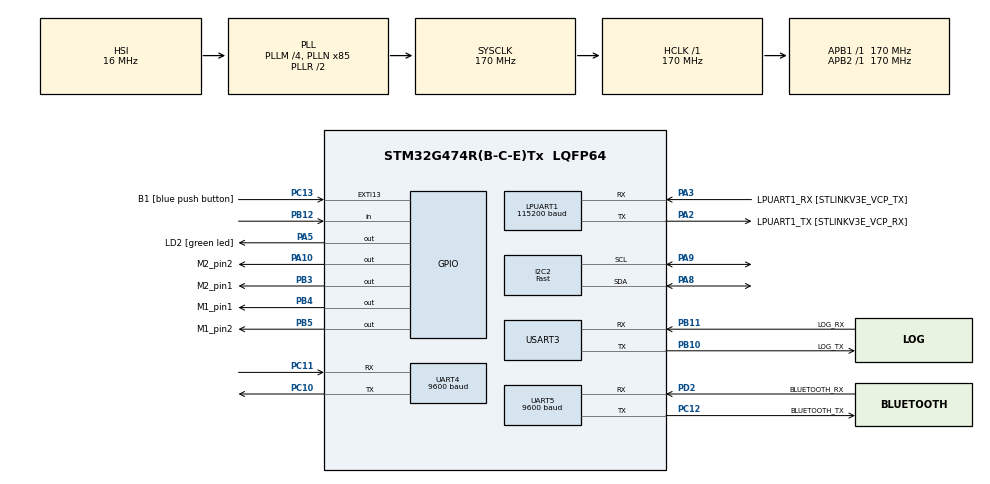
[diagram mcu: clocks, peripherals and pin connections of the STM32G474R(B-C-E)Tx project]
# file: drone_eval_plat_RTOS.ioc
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Dma.LPUART1_RX.0.Direction=DMA_PERIPH_TO_MEMORY
Dma.LPUART1_RX.0.EventEnable=DISABLE
Dma.LPUART1_RX.0.Instance=DMA1_Channel1
Dma.LPUART1_RX.0.MemDataAlignment=DMA_MDATAALIGN_BYTE
Dma.LPUART1_RX.0.MemInc=DMA_MINC_ENABLE
Dma.LPUART1_RX.0.Mode=DMA_CIRCULAR
Dma.LPUART1_RX.0.PeriphDataAlignment=DMA_PDATAALIGN_BYTE
Dma.LPUART1_RX.0.PeriphInc=DMA_PINC_DISABLE
Dma.LPUART1_RX.0.Polarity=HAL_DMAMUX_REQ_GEN_RISING
Dma.LPUART1_RX.0.Priority=DMA_PRIORITY_LOW
Dma.LPUART1_RX.0.RequestNumber=1
Dma.LPUART1_RX.0.SignalID=NONE
Dma.LPUART1_RX.0.SyncEnable=DISABLE
Dma.LPUART1_RX.0.SyncPolarity=HAL_DMAMUX_SYNC_NO_EVENT
Dma.LPUART1_RX.0.SyncRequestNumber=1
Dma.LPUART1_RX.0.SyncSignalID=NONE
Dma.LPUART1_TX.1.Direction=DMA_MEMORY_TO_PERIPH
Dma.LPUART1_TX.1.EventEnable=DISABLE
Dma.LPUART1_TX.1.Instance=DMA1_Channel2
Dma.LPUART1_TX.1.MemDataAlignment=DMA_MDATAALIGN_BYTE
Dma.LPUART1_TX.1.MemInc=DMA_MINC_ENABLE
Dma.LPUART1_TX.1.Mode=DMA_NORMAL
Dma.LPUART1_TX.1.PeriphDataAlignment=DMA_PDATAALIGN_BYTE
Dma.LPUART1_TX.1.PeriphInc=DMA_PINC_DISABLE
Dma.LPUART1_TX.1.Polarity=HAL_DMAMUX_REQ_GEN_RISING
Dma.LPUART1_TX.1.Priority=DMA_PRIORITY_LOW
Dma.LPUART1_TX.1.RequestNumber=1
Dma.LPUART1_TX.1.SignalID=NONE
Dma.LPUART1_TX.1.SyncEnable=DISABLE
Dma.LPUART1_TX.1.SyncPolarity=HAL_DMAMUX_SYNC_NO_EVENT
Dma.LPUART1_TX.1.SyncRequestNumber=1
Dma.LPUART1_TX.1.SyncSignalID=NONE
Dma.Request0=LPUART1_RX
Dma.Request1=LPUART1_TX
FREERTOS.BinarySemaphores01=IMUshouldUpdate,Dynamic,NULL,Available
FREERTOS.Events01=hostImuEvent,Dynamic,NULL
FREERTOS.Queues01=printfQueue,128,xPrintfMessage,0,Dynamic,NULL,NULL;yawMotorNewAngle,16,float,0,Dynamic,NULL,NULL;rollMotorNewAngle,16,float,0,Dynamic,NULL,NULL;IMUdata,4,xIMUData,0,Dynamic,NULL,NULL
FREERTOS.Tasks01=defaultTask,24,3000,defaultTaskFunc,Default,NULL,Static,defaultTaskBuffer,defaultTaskControlBlock;BT_uart,8,128,BT_uart_func,Default,NULL,Dynamic,NULL,NULL;printGateKeeper,8,128,printGateKeeperFunc,Default,NULL,Dynamic,NULL,NULL;writeSetpoint,40,128,writeSetpointFunc,Default,NULL,Dynamic,NULL,NULL;readFromHost,30,500,readFromHostFunc,Default,NULL,Dynamic,NULL,NULL;readFromIMU,49,128,readFromIMUFunc,Default,NULL,Dynamic,NULL,NULL;updateControl,32,128,updateControlFunc,Default,NULL,Dynamic,NULL,NULL;convertSetpoint,21,128,convertSetpointToStepsFunc,Default,NULL,Dynamic,NULL,NULL;sendToHost,29,128,sendToHostFunc,Default,NULL,Dynamic,NULL,NULL;moveYawMotor,18,128,moveYawMotorFunc,Default,NULL,Dynamic,NULL,NULL;moveRollMotor,17,128,moveRollMotorFunc,Default,NULL,Dynamic,NULL,NULL
FREERTOS.configENABLE_FPU=1
FREERTOS.configTOTAL_HEAP_SIZE=40960
FREERTOS.configUSE_NEWLIB_REENTRANT=1
I2C2.CustomTiming=Disabled
I2C2.I2C_Fall_Time=10
I2C2.I2C_Rise_Time=10
I2C2.I2C_Speed_Mode=I2C_Fast
I2C2.Timing=0x10903294
LPUART1.BaudRate=115200
Mcu.Family=STM32G4
Mcu.Name=STM32G474R(B-C-E)Tx
Mcu.Package=LQFP64
NVIC.DMA1_Channel1_IRQn=true\:5\:0\:false\:false\:true\:true\:false\:true\:true
NVIC.DMA1_Channel2_IRQn=true\:5\:0\:false\:false\:true\:true\:false\:true\:true
NVIC.EXTI15_10_IRQn=true\:5\:0\:false\:false\:true\:true\:true\:true\:true
NVIC.LPUART1_IRQn=true\:5\:0\:false\:false\:true\:true\:true\:true\:true
NVIC.PriorityGroup=NVIC_PRIORITYGROUP_4
NVIC.TIM6_DAC_IRQn=true\:15\:0\:false\:false\:true\:false\:false\:true\:true
NVIC.TimeBase=TIM6_DAC_IRQn
NVIC.TimeBaseIP=TIM6
NVIC.UART5_IRQn=true\:5\:0\:false\:false\:true\:true\:true\:true\:true
PA10.GPIO_Label=M2_pin2
PA10.Signal=GPIO_Output
PA13.GPIO_Label=T_SWDIO
PA13.Signal=SYS_JTMS-SWDIO
PA14.GPIO_Label=T_SWCLK
PA14.Signal=SYS_JTCK-SWCLK
PA2.GPIO_Label=LPUART1_TX [STLINKV3E_VCP_RX]
PA2.Mode=Asynchronous
PA2.Signal=LPUART1_TX
PA3.GPIO_Label=LPUART1_RX [STLINKV3E_VCP_TX]
PA3.Mode=Asynchronous
PA3.Signal=LPUART1_RX
PA5.GPIO_Label=LD2 [green led]
PA5.Signal=GPIO_Output
PA8.Mode=I2C
PA8.Signal=I2C2_SDA
PA9.Mode=I2C
PA9.Signal=I2C2_SCL
PB10.GPIO_Label=LOG_TX
PB10.Mode=Asynchronous
PB10.Signal=USART3_TX
PB11.GPIO_Label=LOG_RX
PB11.Mode=Asynchronous
PB11.Signal=USART3_RX
PB12.Signal=GPIO_Input
PB3.GPIO_Label=M2_pin1
PB3.Signal=GPIO_Output
PB4.GPIO_Label=M1_pin1
PB4.Signal=GPIO_Output
PB5.GPIO_Label=M1_pin2
PB5.Signal=GPIO_Output
PC10.Mode=Asynchronous
PC10.Signal=UART4_TX
PC11.Mode=Asynchronous
PC11.Signal=UART4_RX
PC12.GPIO_Label=BLUETOOTH_TX
PC12.Mode=Asynchronous
PC12.Signal=UART5_TX
PC13.GPIO_Label=B1 [blue push button]
PC13.Signal=GPXTI13
PC14-OSC32_IN.GPIO_Label=RCC_OSC32_IN
PC14-OSC32_IN.Signal=RCC_OSC32_IN
PC15-OSC32_OUT.GPIO_Label=RCC_OSC32_OUT
PC15-OSC32_OUT.Signal=RCC_OSC32_OUT
PD2.GPIO_Label=BLUETOOTH_RX
PD2.Mode=Asynchronous
PD2.Signal=UART5_RX
PF0-OSC_IN.GPIO_Label=RCC_OSC_IN
PF0-OSC_IN.Signal=RCC_OSC_IN
PF1-OSC_OUT.GPIO_Label=RCC_OSC_OUT
PF1-OSC_OUT.Signal=RCC_OSC_OUT
ProjectManager.HeapSize=0x200
ProjectManager.StackSize=0x400
ProjectManager.TargetToolchain=STM32CubeIDE
RCC.ADC12Freq_Value=170000000
RCC.ADC345Freq_Value=170000000
RCC.AHBFreq_Value=170000000
RCC.APB1Freq_Value=170000000
RCC.APB1TimFreq_Value=170000000
RCC.APB2Freq_Value=170000000
RCC.APB2TimFreq_Value=170000000
RCC.CortexFreq_Value=170000000
RCC.EXTERNAL_CLOCK_VALUE=12288000
RCC.HCLKFreq_Value=170000000
RCC.HSE_VALUE=24000000
RCC.HSI48_VALUE=48000000
RCC.HSI_VALUE=16000000
RCC.LSE_VALUE=32768
RCC.PLLM=RCC_PLLM_DIV4
RCC.PLLN=85
RCC.RTCClockSelection=RCC_RTCCLKSOURCE_LSE
RCC.SYSCLKFreq_VALUE=170000000
RCC.SYSCLKSource=RCC_SYSCLKSOURCE_PLLCLK
RCC.USBFreq_Value=170000000
RCC.VCOOutputFreq_Value=340000000
TIM1.Prescaler=0
UART4.BaudRate=9600
UART5.BaudRate=9600
USART3.VirtualMode-Asynchronous=VM_ASYNC
VP_FREERTOS_VS_CMSIS_V2.Mode=CMSIS_V2
VP_SYS_VS_DBSignals.Mode=DisableDeadBatterySignals
VP_SYS_VS_tim6.Mode=TIM6
VP_TIM1_VS_ClockSourceINT.Mode=Internal
board=NUCLEO-G474RE

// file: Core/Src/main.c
/* USER CODE BEGIN Header */
/**
  ******************************************************************************
  * @file           : main.c
  * @brief          : Main program body
  ******************************************************************************
  * @attention
  *
  * Copyright (c) 2024 STMicroelectronics.
  * All rights reserved.
  *
  * This software is licensed under terms that can be found in the LICENSE file
  * in the root directory of this software component.
  * If no LICENSE file comes with this software, it is provided AS-IS.
  *
  ******************************************************************************
  */
/* USER CODE END Header */
#include "main.h"
#include "cmsis_os.h"
#include "dma.h"
#include "i2c.h"
#include "usart.h"
#include "tim.h"
#include "gpio.h"

void SystemClock_Config(void);
void MX_FREERTOS_Init(void);

/* USER CODE BEGIN 0 */
//int _write(int file, char *ptr, int len)
//{
////  if(HAL_UART_Transmit(&huart3,(uint8_t *)ptr, len,100) != HAL_OK)
//  if(HAL_UART_Transmit(&hlpuart1,(uint8_t *)ptr, len,100) != HAL_OK)
//  {
//    Error_Handler();
//  }
//
//  return len;
//}
/* USER CODE END 0 */

int main(void)
{

  /* MCU Configuration--------------------------------------------------------*/

  /* Reset of all peripherals, Initializes the Flash interface and the Systick. */
  HAL_Init();

  /* Configure the system clock */
  SystemClock_Config();

  /* Initialize all configured peripherals */
  MX_GPIO_Init();
  MX_DMA_Init();
  MX_LPUART1_UART_Init();
  MX_I2C2_Init();
  MX_USART3_UART_Init();
  MX_TIM1_Init();
  MX_UART5_Init();
  MX_UART4_Init();

  /* Init scheduler */
  osKernelInitialize();

  /* Call init function for freertos objects (in cmsis_os2.c) */
  MX_FREERTOS_Init();

  /* Start scheduler */
  osKernelStart();

  /* We should never get here as control is now taken by the scheduler */

  /* Infinite loop */
  while (1)
  {

  }
}

void SystemClock_Config(void)
{
  RCC_OscInitTypeDef RCC_OscInitStruct = {0};
  RCC_ClkInitTypeDef RCC_ClkInitStruct = {0};

  /** Configure the main internal regulator output voltage
  */
  HAL_PWREx_ControlVoltageScaling(PWR_REGULATOR_VOLTAGE_SCALE1_BOOST);

  /** Initializes the RCC Oscillators according to the specified parameters
  * in the RCC_OscInitTypeDef structure.
  */
  RCC_OscInitStruct.OscillatorType = RCC_OSCILLATORTYPE_HSI;
  RCC_OscInitStruct.HSIState = RCC_HSI_ON;
  RCC_OscInitStruct.HSICalibrationValue = RCC_HSICALIBRATION_DEFAULT;
  RCC_OscInitStruct.PLL.PLLState = RCC_PLL_ON;
  RCC_OscInitStruct.PLL.PLLSource = RCC_PLLSOURCE_HSI;
  RCC_OscInitStruct.PLL.PLLM = RCC_PLLM_DIV4;
  RCC_OscInitStruct.PLL.PLLN = 85;
  RCC_OscInitStruct.PLL.PLLP = RCC_PLLP_DIV2;
  RCC_OscInitStruct.PLL.PLLQ = RCC_PLLQ_DIV2;
  RCC_OscInitStruct.PLL.PLLR = RCC_PLLR_DIV2;
  if (HAL_RCC_OscConfig(&RCC_OscInitStruct) != HAL_OK)
  {
    Error_Handler();
  }

  /** Initializes the CPU, AHB and APB buses clocks
  */
  RCC_ClkInitStruct.ClockType = RCC_CLOCKTYPE_HCLK|RCC_CLOCKTYPE_SYSCLK
                              |RCC_CLOCKTYPE_PCLK1|RCC_CLOCKTYPE_PCLK2;
  RCC_ClkInitStruct.SYSCLKSource = RCC_SYSCLKSOURCE_PLLCLK;
  RCC_ClkInitStruct.AHBCLKDivider = RCC_SYSCLK_DIV1;
  RCC_ClkInitStruct.APB1CLKDivider = RCC_HCLK_DIV1;
  RCC_ClkInitStruct.APB2CLKDivider = RCC_HCLK_DIV1;

  if (HAL_RCC_ClockConfig(&RCC_ClkInitStruct, FLASH_LATENCY_4) != HAL_OK)
  {
    Error_Handler();
  }
}

void HAL_TIM_PeriodElapsedCallback(TIM_HandleTypeDef *htim)
{
  if (htim->Instance == TIM6) {
    HAL_IncTick();
  }
}

void Error_Handler(void)
{
  __disable_irq();
  while (1)
  {
  }
}

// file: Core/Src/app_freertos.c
/* USER CODE BEGIN Header */
/**
  ******************************************************************************
  * File Name          : app_freertos.c
  * Description        : Code for freertos applications
  ******************************************************************************
  * @attention
  *
  * Copyright (c) 2024 STMicroelectronics.
  * All rights reserved.
  *
  * This software is licensed under terms that can be found in the LICENSE file
  * in the root directory of this software component.
  * If no LICENSE file comes with this software, it is provided AS-IS.
  *
  ******************************************************************************
  */
/* USER CODE END Header */

#include "FreeRTOS.h"
#include "task.h"
#include "main.h"
#include "cmsis_os.h"

/* USER CODE BEGIN Includes */
#include "stdio.h"
#include "string.h"

#include "gpio.h"
#include "usart.h"
#include "tim.h"

#include "MPU6050.h"
#include "CalculateAngle.h"

#include "my_microROS_functions.h"
/* USER CODE END Includes */

typedef StaticTask_t osStaticThreadDef_t;
/* USER CODE BEGIN PTD */
#define MAX_MESSAGE_LEN 32
typedef struct {
  int iMessageLen;
  char pMessageBuffer[MAX_MESSAGE_LEN];
} xPrintfMessage;

typedef struct {
  float fYaw;
  float fRoll;
  float fPitch;
  int iDataFromJoystick;
} xSetpoint;

typedef struct {
  float fYaw;
  float fRoll;
  float fPitch;
} xIMUData;

typedef xIMUData xJoystickData;
/* USER CODE END PTD */

/* USER CODE BEGIN PD */
#define DEFAULT_OSDELAY_LOOP 4
#define UART_BUFFER_SIZE 256
#define STEP_MOTOR_MICRODELAY 500
/* USER CODE END PD */

/* USER CODE BEGIN PM */
#define MAX(x, y) (((x) > (y)) ? (x) : (y))
#define MIN(x, y) (((x) < (y)) ? (x) : (y))
#define ABS(x) (((x) < 0) ? -(x) : (x))

// matrix multiplication, we pass ret=A*x, wheere x is 3x1 and returns a 4x1 matrix: A is 4x3
#define MATRIX_MULTIPLICATION(ret, A, x) \
  ret[0] = A[0][0]*x[0] + A[0][1]*x[1] + A[0][2]*x[2]; \
  ret[1] = A[1][0]*x[0] + A[1][1]*x[1] + A[1][2]*x[2]; \
  ret[2] = A[2][0]*x[0] + A[2][1]*x[1] + A[2][2]*x[2]; \
  ret[3] = A[3][0]*x[0] + A[3][1]*x[1] + A[3][2]*x[2];
/* USER CODE END PM */

/* USER CODE BEGIN Variables */
xSetpoint xSetpointData = {0, 0, 0, 0};
xSetpoint xHostData = {0, 0, 0, 0};
xJoystickData xJoystickDataIncoming = {0, 0, 0};
float fMotorSpeeds[4] = {500, 500, 500, 500};

unsigned char ucUartInputChar = '\0';
unsigned short int usBufferIndex = 0;
unsigned char ucUartInputBuffer[UART_BUFFER_SIZE];
unsigned short int usLastPrintedIndex = 0;
/* USER CODE END Variables */
/* Definitions for defaultTask */
osThreadId_t defaultTaskHandle;
uint32_t defaultTaskBuffer[ 3000 ];
osStaticThreadDef_t defaultTaskControlBlock;
const osThreadAttr_t defaultTask_attributes = {
  .name = "defaultTask",
  .stack_mem = &defaultTaskBuffer[0],
  .stack_size = sizeof(defaultTaskBuffer),
  .cb_mem = &defaultTaskControlBlock,
  .cb_size = sizeof(defaultTaskControlBlock),
  .priority = (osPriority_t) osPriorityNormal,
};
/* Definitions for BT_uart */
osThreadId_t BT_uartHandle;
const osThreadAttr_t BT_uart_attributes = {
  .name = "BT_uart",
  .priority = (osPriority_t) osPriorityLow,
  .stack_size = 128 * 4
};
/* Definitions for printGateKeeper */
osThreadId_t printGateKeeperHandle;
const osThreadAttr_t printGateKeeper_attributes = {
  .name = "printGateKeeper",
  .priority = (osPriority_t) osPriorityLow,
  .stack_size = 128 * 4
};
/* Definitions for writeSetpoint */
osThreadId_t writeSetpointHandle;
const osThreadAttr_t writeSetpoint_attributes = {
  .name = "writeSetpoint",
  .priority = (osPriority_t) osPriorityHigh,
  .stack_size = 128 * 4
};
/* Definitions for readFromHost */
osThreadId_t readFromHostHandle;
const osThreadAttr_t readFromHost_attributes = {
  .name = "readFromHost",
  .priority = (osPriority_t) osPriorityNormal6,
  .stack_size = 500 * 4
};
/* Definitions for readFromIMU */
osThreadId_t readFromIMUHandle;
const osThreadAttr_t readFromIMU_attributes = {
  .name = "readFromIMU",
  .priority = (osPriority_t) osPriorityRealtime1,
  .stack_size = 128 * 4
};
/* Definitions for updateControl */
osThreadId_t updateControlHandle;
const osThreadAttr_t updateControl_attributes = {
  .name = "updateControl",
  .priority = (osPriority_t) osPriorityAboveNormal,
  .stack_size = 128 * 4
};
/* Definitions for convertSetpoint */
osThreadId_t convertSetpointHandle;
const osThreadAttr_t convertSetpoint_attributes = {
  .name = "convertSetpoint",
  .priority = (osPriority_t) osPriorityBelowNormal5,
  .stack_size = 128 * 4
};
/* Definitions for sendToHost */
osThreadId_t sendToHostHandle;
const osThreadAttr_t sendToHost_attributes = {
  .name = "sendToHost",
  .priority = (osPriority_t) osPriorityNormal5,
  .stack_size = 128 * 4
};
/* Definitions for moveYawMotor */
osThreadId_t moveYawMotorHandle;
const osThreadAttr_t moveYawMotor_attributes = {
  .name = "moveYawMotor",
  .priority = (osPriority_t) osPriorityBelowNormal2,
  .stack_size = 128 * 4
};
/* Definitions for moveRollMotor */
osThreadId_t moveRollMotorHandle;
const osThreadAttr_t moveRollMotor_attributes = {
  .name = "moveRollMotor",
  .priority = (osPriority_t) osPriorityBelowNormal1,
  .stack_size = 128 * 4
};
/* Definitions for printfQueue */
osMessageQueueId_t printfQueueHandle;
const osMessageQueueAttr_t printfQueue_attributes = {
  .name = "printfQueue"
};
/* Definitions for yawMotorNewAngle */
osMessageQueueId_t yawMotorNewAngleHandle;
const osMessageQueueAttr_t yawMotorNewAngle_attributes = {
  .name = "yawMotorNewAngle"
};
/* Definitions for rollMotorNewAngle */
osMessageQueueId_t rollMotorNewAngleHandle;
const osMessageQueueAttr_t rollMotorNewAngle_attributes = {
  .name = "rollMotorNewAngle"
};
/* Definitions for IMUdata */
osMessageQueueId_t IMUdataHandle;
const osMessageQueueAttr_t IMUdata_attributes = {
  .name = "IMUdata"
};
/* Definitions for IMUshouldUpdate */
osSemaphoreId_t IMUshouldUpdateHandle;
const osSemaphoreAttr_t IMUshouldUpdate_attributes = {
  .name = "IMUshouldUpdate"
};
/* Definitions for hostImuEvent */
osEventFlagsId_t hostImuEventHandle;
const osEventFlagsAttr_t hostImuEvent_attributes = {
  .name = "hostImuEvent"
};

/* USER CODE BEGIN FunctionPrototypes */
void HAL_UART_RxCpltCallback(UART_HandleTypeDef *huart);
void microDelay(uint16_t delay);
void step(int steps, uint8_t direction, uint16_t delay, GPIO_TypeDef *GPIOx, uint16_t GPIO_Pin);
/* USER CODE END FunctionPrototypes */

void defaultTaskFunc(void *argument);
void BT_uart_func(void *argument);
void printGateKeeperFunc(void *argument);
void writeSetpointFunc(void *argument);
void readFromHostFunc(void *argument);
void readFromIMUFunc(void *argument);
void updateControlFunc(void *argument);
void convertSetpointToStepsFunc(void *argument);
void sendToHostFunc(void *argument);
void moveYawMotorFunc(void *argument);
void moveRollMotorFunc(void *argument);

void MX_FREERTOS_Init(void); /* (MISRA C 2004 rule 8.1) */

void MX_FREERTOS_Init(void) {

  /* Create the semaphores(s) */
  /* creation of IMUshouldUpdate */
  IMUshouldUpdateHandle = osSemaphoreNew(1, 1, &IMUshouldUpdate_attributes);

  /* USER CODE BEGIN RTOS_TIMERS */
  HAL_TIM_Base_Start(&htim1);
  /* USER CODE END RTOS_TIMERS */

  /* Create the queue(s) */
  /* creation of printfQueue */
  printfQueueHandle = osMessageQueueNew (128, sizeof(xPrintfMessage), &printfQueue_attributes);

  /* creation of yawMotorNewAngle */
  yawMotorNewAngleHandle = osMessageQueueNew (16, sizeof(float), &yawMotorNewAngle_attributes);

  /* creation of rollMotorNewAngle */
  rollMotorNewAngleHandle = osMessageQueueNew (16, sizeof(float), &rollMotorNewAngle_attributes);

  /* creation of IMUdata */
  IMUdataHandle = osMessageQueueNew (4, sizeof(xIMUData), &IMUdata_attributes);

  /* Create the thread(s) */
  /* creation of defaultTask */
  defaultTaskHandle = osThreadNew(defaultTaskFunc, NULL, &defaultTask_attributes);

  /* creation of BT_uart */
  BT_uartHandle = osThreadNew(BT_uart_func, NULL, &BT_uart_attributes);

  /* creation of printGateKeeper */
  printGateKeeperHandle = osThreadNew(printGateKeeperFunc, NULL, &printGateKeeper_attributes);

  /* creation of writeSetpoint */
  writeSetpointHandle = osThreadNew(writeSetpointFunc, NULL, &writeSetpoint_attributes);

  /* creation of readFromHost */
  readFromHostHandle = osThreadNew(readFromHostFunc, NULL, &readFromHost_attributes);

  /* creation of readFromIMU */
  readFromIMUHandle = osThreadNew(readFromIMUFunc, NULL, &readFromIMU_attributes);

  /* creation of updateControl */
  updateControlHandle = osThreadNew(updateControlFunc, NULL, &updateControl_attributes);

  /* creation of convertSetpoint */
  convertSetpointHandle = osThreadNew(convertSetpointToStepsFunc, NULL, &convertSetpoint_attributes);

  /* creation of sendToHost */
  sendToHostHandle = osThreadNew(sendToHostFunc, NULL, &sendToHost_attributes);

  /* creation of moveYawMotor */
  moveYawMotorHandle = osThreadNew(moveYawMotorFunc, NULL, &moveYawMotor_attributes);

  /* creation of moveRollMotor */
  moveRollMotorHandle = osThreadNew(moveRollMotorFunc, NULL, &moveRollMotor_attributes);

  /* Create the event(s) */
  /* creation of hostImuEvent */
  hostImuEventHandle = osEventFlagsNew(&hostImuEvent_attributes);

}

void defaultTaskFunc(void *argument)
{
  /* USER CODE BEGIN defaultTaskFunc */

  for(int i = 0; i < 60; i++){
    printf("\r\n");
  }

  printf("@@@@@@@@@@@@@@@@@@@@@@@@@\r\n");
  printf("Booting...\r\n");
  printf("@@@@@@@@@@@@@@@@@@@@@@@@@\r\n");
  // HAL_UART_Transmit(&huart4, "1", 1, 100);

  /* Infinite loop */
  for(;;)
  {
	//uint32_t valor_flag = osThreadFlagsSet(readFromHostHandle, 0x01);
	//osEventFlagsSet(hostImuEventHandle,0x01);
    vMyMicroros();
    osDelay(1000);
  }
  /* USER CODE END defaultTaskFunc */
}

void BT_uart_func(void *argument)
{
  /* USER CODE BEGIN BT_uart_func */

  /* Infinite loop */
  printf("bluetooth IS on\r\n");
  for(;;)
  {
    HAL_UART_Receive_IT(&huart5, &ucUartInputChar, 1);

    // If buffer size differs from printed amount, print until they match
    while ( usLastPrintedIndex != usBufferIndex ){

      printf("bluetooth int: ");
      if ( ucUartInputBuffer[usLastPrintedIndex] == '0'){
        printf("KEY_RELEASED\r\n");
        // HAL_UART_Transmit(&huart4, "1", 1, 100);
      }else{
        printf((char *) &( ucUartInputBuffer[usLastPrintedIndex] ));
        printf("\r\n");
        if ( ucUartInputBuffer[usLastPrintedIndex] == 'v'){
          xJoystickDataIncoming.fYaw += 15;
          osThreadFlagsSet(writeSetpointHandle, 0x1);
        }
        else if ( ucUartInputBuffer[usLastPrintedIndex] == 'b'){
          xJoystickDataIncoming.fYaw += -15;
          osThreadFlagsSet(writeSetpointHandle, 0x1);
        }
        else if ( ucUartInputBuffer[usLastPrintedIndex] == 'w'){
          xJoystickDataIncoming.fPitch += 15;
          osThreadFlagsSet(writeSetpointHandle, 0x1);
        }
        else if ( ucUartInputBuffer[usLastPrintedIndex] == 's'){
          xJoystickDataIncoming.fPitch += -15;
          osThreadFlagsSet(writeSetpointHandle, 0x1);
        }
        else if ( ucUartInputBuffer[usLastPrintedIndex] == 'a'){
          xJoystickDataIncoming.fRoll += 15;
          osThreadFlagsSet(writeSetpointHandle, 0x1);
        }
        else if ( ucUartInputBuffer[usLastPrintedIndex] == 'd'){
          xJoystickDataIncoming.fRoll += -15;
          osThreadFlagsSet(writeSetpointHandle, 0x1);
        }
      }
      usLastPrintedIndex++;

      if (usLastPrintedIndex >  UART_BUFFER_SIZE - 1)
        usLastPrintedIndex = 0;
    }
    osDelay(DEFAULT_OSDELAY_LOOP);
  }
  /* USER CODE END BT_uart_func */
}

void printGateKeeperFunc(void *argument)
{
  /* USER CODE BEGIN printGateKeeperFunc */
  xPrintfMessage xIncommingMessage;
  /* Infinite loop */
  for(;;)
  {

    if (osMessageQueueGet(printfQueueHandle, &xIncommingMessage, 0x0, 10) == osOK){
    	if(HAL_UART_Transmit(&huart3,(uint8_t *)xIncommingMessage.pMessageBuffer, xIncommingMessage.iMessageLen, 100) != HAL_OK){
      //if(HAL_UART_Transmit(&hlpuart1,(uint8_t *)xIncommingMessage.pMessageBuffer, xIncommingMessage.iMessageLen, 100) != HAL_OK){
        Error_Handler();
      }
    }
    osDelay(DEFAULT_OSDELAY_LOOP);
  }
  /* USER CODE END printGateKeeperFunc */
}

void writeSetpointFunc(void *argument)
{
  /* USER CODE BEGIN writeSetpointFunc */
  uint32_t uiThreadFlagsReturn = 0;

  /* Infinite loop */
  for(;;)
  {
    // wait for writeSetpointFunc task flag to be different from 0
    uiThreadFlagsReturn = osThreadFlagsWait(0b11, osFlagsWaitAny, 1000);
    // if return is 0x1, read data from joystick
    // if return is 0x10, read data from host
    // else we loop and wait for the flag to be set
    if (uiThreadFlagsReturn == 0x1){
      // read data from joystick
      xSetpointData.iDataFromJoystick = 1;
      xSetpointData.fYaw = xJoystickDataIncoming.fYaw;
      xSetpointData.fRoll = xJoystickDataIncoming.fRoll;
      xSetpointData.fPitch = xJoystickDataIncoming.fPitch;
      printf("setpoint upd joy\r\n");
      osThreadFlagsSet(convertSetpointHandle, 0x1);

    }
    else if (uiThreadFlagsReturn == 0b10){
      // read data from host

      xSetpointData.iDataFromJoystick = 0;
      xSetpointData.fYaw = xHostData.fYaw;
      xSetpointData.fRoll = xHostData.fRoll;
      xSetpointData.fPitch = xHostData.fPitch;
      printf("setpoint upd ros\r\n");
      //osThreadFlagsSet(convertSetpointHandle, 0x1);
    }

    osDelay(4);
  }
  /* USER CODE END writeSetpointFunc */
}

void readFromHostFunc(void *argument)
{
  /* USER CODE BEGIN readFromHostFunc */
    // IVAN CODE HERE <--------------------------------------------------------------------------------------------------------
	xSetpoint angles = {0,0,0,0};
	int i=0;
  /* Infinite loop */
  for(;;)
  {
    // IVAN CODE HERE <--------------------------------------------------------------------------------------------------------
	osEventFlagsWait(hostImuEventHandle, 0x01, osFlagsWaitAll, osWaitForever);
	xHostData.fYaw = angles.fYaw;
	xHostData.fRoll = angles.fRoll;
	xHostData.fPitch = angles.fPitch;
	xHostData.iDataFromJoystick = 0x10;
	HAL_GPIO_TogglePin(LD2_GPIO_Port , LD2_Pin);
	float a_velocity[] = {0+i,10+i,100+i,500+i};
	vSetActuatorMsg(a_velocity);
	//vSendActuatorMsg();
	//osThreadFlagsSet(writeSetpointHandle,0b10);
	osDelay(DEFAULT_OSDELAY_LOOP);
	i++;
	i%=100;
  }
  /* USER CODE END readFromHostFunc */
}

void readFromIMUFunc(void *argument)
{
  /* USER CODE BEGIN readFromIMUFunc */

  MPU6050_Initialization();
  /* Infinite loop */
  for(;;)
  {
    // IMUshouldUpdate semaphore is set to 1 when the IMU has new data
    if (osSemaphoreAcquire(IMUshouldUpdateHandle, 0) == osOK){
      MPU6050_ProcessData(&MPU6050);
      CalculateCompliFilter(&Angle, &MPU6050);
      // printf("%f, %f, %f\r\n", Angle.ComFilt_roll,Angle.ComFilt_pitch,Angle.ComFilt_yaw);
    }
    osDelay(DEFAULT_OSDELAY_LOOP);
  }
  /* USER CODE END readFromIMUFunc */
}

void updateControlFunc(void *argument)
{
  /* USER CODE BEGIN updateControlFunc */
  xIMUData xIMUDataIncoming = {0, 0, 0};
  float xError[] = {0, 0, 0};
  xIMUData xIMUDataPrevious = {0, 0, 0};
  xIMUData xIMUDataErrorAccumulated = {0, 0, 0};
  float fMotorSpeedsDiff[4] = {0, 0, 0, 0};

  // we need a matrix to map the error to the motor speeds
  float fStateToMotorSpeedMatrix[4][3] = {
    {1, 1, 1},
    {1, -1, -1},
    {-1, -1, 1},
    {-1, 1, -1}
  };

  /* Infinite loop */
  for(;;)
  {

    if (osMessageQueueGet(IMUdataHandle, &xIMUDataIncoming, 0x0, 100) == osOK){
      xError[0] = xSetpointData.fYaw - xIMUDataIncoming.fYaw;
      xError[1] = xSetpointData.fRoll - xIMUDataIncoming.fRoll;
      xError[2] = xSetpointData.fPitch - xIMUDataIncoming.fPitch;

      xIMUDataErrorAccumulated.fYaw += xError[0];
      xIMUDataErrorAccumulated.fRoll += xError[1];
      xIMUDataErrorAccumulated.fPitch += xError[2];

      MATRIX_MULTIPLICATION(fMotorSpeedsDiff, fStateToMotorSpeedMatrix, xError);
      fMotorSpeeds[0] = fMotorSpeeds[0] + fMotorSpeedsDiff[0];
      fMotorSpeeds[1] = fMotorSpeeds[1] + fMotorSpeedsDiff[1];
      fMotorSpeeds[2] = fMotorSpeeds[2] + fMotorSpeedsDiff[2];
      fMotorSpeeds[3] = fMotorSpeeds[3] + fMotorSpeedsDiff[3];

      // we need to update the real motor angles that will move the IMU
      osMessageQueuePut(yawMotorNewAngleHandle, & xIMUDataIncoming.fYaw, 0, 1);
      osMessageQueuePut(rollMotorNewAngleHandle, & xIMUDataIncoming.fRoll, 0, 1);

      // we need to update the motor speeds to micro
      osThreadFlagsSet(sendToHostHandle, 0x1);

      xIMUDataPrevious = xIMUDataIncoming;
      (void) xIMUDataPrevious; // just use to avoid warning, but would be necessary at PID
    }

    //    if(0x01 == osThreadFlagsWait(0x01, osFlagsWaitAny, 1000)){
//    	static int i = 0;
//    	fMotorSpeeds[0] = i;
//    	fMotorSpeeds[1] = i+10;
//    	fMotorSpeeds[2] = i+100;
//    	fMotorSpeeds[3] = i+500;
//    	osThreadFlagsSet(sendToHostHandle, 0x1);
//    	i++;
//    	i%=100;
//    }

    osDelay(DEFAULT_OSDELAY_LOOP);
  }
  /* USER CODE END updateControlFunc */
}

void convertSetpointToStepsFunc(void *argument)
{
  /* USER CODE BEGIN convertSetpointToStepsFunc */
  // we know that  25 steps equals 45 degrees of the motor
  // a full rotation is 45 degrees * 8 = 360 degrees
  // but the gear diameter ratio is 1.6cm at motor to 8cm at IMU
  float fGearDiameterRatio = 8/1.6;
  float fMotorStepsToIMUFullRotation = 25 * fGearDiameterRatio / 45;
  xIMUData xIMUDataPrevious = {0, 0, 0};
  float fNewAngleYaw = 0;
  float fNewAngleRoll = 0;
  int iDiffYaw = 0;
  int iDiffRoll = 0;

  /* Infinite loop */
  for(;;)
  {
    //osDelay(1 << 30);
    // wait thread flag to be set to 1
    if (osThreadFlagsWait(0x1, 0x1, 1000) == 0x1){
      printf("setpoint conv called\r\n");
      // amount of steps to move the motor is the difference between the new angle and the previous angle
      // divided by the amount of steps to move the IMU a full rotation
      // we add to rollMotorNewAngleHandle and yawMotorNewAngleHandle
      fNewAngleYaw = (xSetpointData.fYaw - xIMUDataPrevious.fYaw) * fMotorStepsToIMUFullRotation;
      fNewAngleRoll = (xSetpointData.fRoll - xIMUDataPrevious.fRoll) * fMotorStepsToIMUFullRotation;

      iDiffYaw = (int) (xSetpointData.fYaw - xIMUDataPrevious.fYaw);
      iDiffRoll = (int) (xSetpointData.fRoll - xIMUDataPrevious.fRoll);
      printf("the diff from data and dataprev is");
      printf("%d %d\r\n", iDiffYaw, iDiffRoll);

      iDiffYaw = iDiffYaw * fMotorStepsToIMUFullRotation;
      iDiffRoll = iDiffRoll * fMotorStepsToIMUFullRotation;
      printf("the amount of steps is");
      printf("%d %d\r\n", iDiffYaw, iDiffRoll);

      // iNewAngleYaw = (int) fNewAngleYaw;
      // iNewAngleRoll = (int) fNewAngleRoll;

      // printf("- new angle yaw : %d\r\n", iNewAngleYaw);
      // printf("- new angle roll: %d\r\n", iNewAngleRoll);

      osMessageQueuePut(yawMotorNewAngleHandle, & fNewAngleYaw, 0, 100);
      osMessageQueuePut(rollMotorNewAngleHandle, & fNewAngleRoll, 0, 100);

      xIMUDataPrevious.fYaw = xSetpointData.fYaw;
      xIMUDataPrevious.fRoll = xSetpointData.fRoll;
      xIMUDataPrevious.fPitch = xSetpointData.fPitch;
    }
    osDelay(DEFAULT_OSDELAY_LOOP);
  }
  /* USER CODE END convertSetpointToStepsFunc */
}

void sendToHostFunc(void *argument)
{
  /* USER CODE BEGIN sendToHostFunc */
  // IVAN CODE HERE <--------------------------------------------------------------------------------------------------------
/* Infinite loop */
  for(;;)
  {
    // if thread flag is set to 1, send data to host
    if (osThreadFlagsWait(0x1, 0x11, 1000) == 0x1){
      // IVAN CODE HERE <--------------------------------------------------------------------------------------------------------
      vSetActuatorMsg(fMotorSpeeds);
    	vSendActuatorMsg();
    }
    osDelay(DEFAULT_OSDELAY_LOOP);
  }
  /* USER CODE END sendToHostFunc */
}

void moveYawMotorFunc(void *argument)
{
  /* USER CODE BEGIN moveYawMotorFunc */
  float fNewSteps;
  /* Infinite loop */
  for(;;)
  {
    if (osMessageQueueGet(yawMotorNewAngleHandle, &fNewSteps, 0x0, 100) == osOK){
      step(ABS(fNewSteps), fNewSteps>0?1:0, STEP_MOTOR_MICRODELAY, M2_pin2_GPIO_Port, M2_pin2_Pin);
    }

    osDelay(DEFAULT_OSDELAY_LOOP);
  }
  /* USER CODE END moveYawMotorFunc */
}

/* USER CODE BEGIN Header_moveRollMotorFunc */
/**
* @brief Function that moves the roll motor
* @param argument: Not used
* @retval None
*/
/* USER CODE END Header_moveRollMotorFunc */
void moveRollMotorFunc(void *argument)
{
  /* USER CODE BEGIN moveRollMotorFunc */
  float fNewSteps;
  /* Infinite loop */
  for(;;)
  {
    //osDelay(1 << 30);
    if (osMessageQueueGet(rollMotorNewAngleHandle, &fNewSteps, 0x0, 100) == osOK){
      // printf("roll motor new angle: %f\r\n", fNewSteps);
      step(ABS(fNewSteps), fNewSteps>0?1:0, STEP_MOTOR_MICRODELAY, M1_pin2_GPIO_Port, M1_pin2_Pin);
    }

    osDelay(DEFAULT_OSDELAY_LOOP);
  }
  /* USER CODE END moveRollMotorFunc */
}

/* USER CODE BEGIN Application */
// *****************************************************    //
// Method name: HAL_UART_RxCpltCallback                     //
// Method description:  This method overrides the UART      //
//                      detection callback, which is        //
//                      triggered when a new char arrives   //
//                      It sends the char to the cyclic     //
//                      buffer and updates the buffer index //
// Input params:        huart                               //
//                      The specific uart that              //
//                      triggered the interrupt.            //
// Output params:       n/a                                 //
// *****************************************************    //
void HAL_UART_RxCpltCallback(UART_HandleTypeDef *huart)
{
  if (huart == &huart5){
    ucUartInputBuffer[usBufferIndex++] = ucUartInputChar;
    if(usBufferIndex > UART_BUFFER_SIZE - 1)
      usBufferIndex = 0;
  }
}

// *********************************************************//
// Method name: vSendUARTstepCommand                        //
// Method description:  This method sends a step command    //
//                      to the UART. It is used to move the //
//                      motor handler to another MCU. The   //
//                      new MCU expects a byte in the fol-  //
//                      lowing format:                      //
//                      MSB: Motor, 0 for roll, 1 for yaw   //
//                      2nd MSB: Direction, 0CW, 1CCW       //
//                      3rd MSB: Steps, 0-64 steps.         //
//                      If user need more steps, we need to //
//                      send more commands.                 //
// Input params:        steps                               //
//                      The amount of steps to move the     //
//                      motor.                              //
//                      direction                           //
//                      The direction to move the motor     //
//                      1 for clockwise, 0 for counter      //
//                      clockwise.                          //
//                      delay                               //
//                      The delay between each step.        //
//                      GPIOx                               //
//                      The GPIO port of the motor.         //
//                      GPIO_Pin                            //
//                      The GPIO pin of the motor.          //
// Output params:       n/a                                 //
// *********************************************************//
void vSendUARTstepCommand(int iSteps, uint8_t direction, uint16_t delay, GPIO_TypeDef *GPIOx, uint16_t GPIO_Pin)
{
  // The aux MCU uart is uart4, handler &huart4
  // motorTx = PC10 = CN7 pin 1
  // motorRx = PC11 = CN7 pin 2
  char cCommand = 0;
  char steps = 0;
  printf("Sending command to motor\r\n");
  // printf("Steps: %d, Direction: %d, Delay: %d, GPIOx: %d, GPIO_Pin: %d\r\n", iSteps, direction, delay, GPIOx, GPIO_Pin);

  if (iSteps == 0)
    return;

  if (GPIOx == M1_pin2_GPIO_Port)
    cCommand = 0b10000000;
  else if (GPIOx == M2_pin2_GPIO_Port)
    cCommand = 0b00000000;
  else
    return;

  cCommand = cCommand | (direction * 0b01000000);

  while( iSteps > 0){
    steps = iSteps > 32 ? 32 : iSteps;
    iSteps = iSteps - steps;

    cCommand = cCommand | steps;
    HAL_UART_Transmit(&huart4, (uint8_t *) &cCommand, 1, 1);
    // clear steps from cCommand, cCommand should keep the 1st and 2nd MSB, rest is zero
    // the mask should be 0b11000000 = 0xC0
    cCommand = cCommand & 0xC0;
  }
}

// *********************************************************//
// Method name: step                                        //
// Method description:  This method moves a given motor     //
//                      a given amount of steps in a given  //
//                      direction.                          //
// Input params:        steps                               //
//                      The amount of steps to move the     //
//                      motor.                              //
//                      direction                           //
//                      The direction to move the motor     //
//                      1 for clockwise, 0 for counter      //
//                      clockwise.                          //
//                      delay                               //
//                      The delay between each step.        //
//                      GPIOx                               //
//                      The GPIO port of the motor.         //
//                      GPIO_Pin                            //
//                      The GPIO pin of the motor.          //
// Output params:       n/a                                 //
// *********************************************************//
void step(int steps, uint8_t direction, uint16_t delay, GPIO_TypeDef *GPIOx, uint16_t GPIO_Pin)
{
  // printf("step called need to move %d steps in direction %d with delay %d\r\n", steps, direction, delay);
  return vSendUARTstepCommand(steps, direction, delay, GPIOx, GPIO_Pin);
  // int x;

  // HAL_GPIO_WritePin(GPIOx, GPIO_Pin, !direction);
  // for(x=0; x<steps; x=x+1)
  // {
  //   HAL_GPIO_WritePin(GPIOx, GPIO_Pin, 1);
  //   microDelay(delay);
  //   HAL_GPIO_WritePin(GPIOx, GPIO_Pin, 0);
  //   microDelay(delay);
  // }
}

// *********************************************************//
// Method name: microDelay                                  //
// Method description:  This method creates a delay in      //
//                      microseconds.                       //
// Input params:        delay                               //
//                      The delay in microseconds.          //
// Output params:       n/a                                 //
// *********************************************************//
void microDelay (uint16_t delay)
{
  int a = 0;
  __HAL_TIM_SET_COUNTER(&htim1, 0);
  do{
    a = __HAL_TIM_GET_COUNTER(&htim1);
  }while (a < delay);
}

// *********************************************************//
// Method name: _write                                      //
// Method description:  This method overrides the write     //
//                      method, which is used by printf.    //
//                      It sends the message to the         //
//                      printfQueue.                        //
// Input params:        file                                //
//                      The file to write to.               //
//                      ptr                                 //
//                      The pointer to the message.         //
//                      len                                 //
//                      The length of the message.          //
// Output params:       len                                 //
//                      The length of the message.          //
// *********************************************************//
int _write(int file, char *ptr, int len)
{
  xPrintfMessage xIncommingMessage;
  int original_len = len;
  int batch_len = 0;

  // if(HAL_UART_Transmit(&hlpuart1,(uint8_t *)ptr, len,100) != HAL_OK){
  //         Error_Handler();
  // }

if (len <= MAX_MESSAGE_LEN-1){
  batch_len = MIN(len, MAX_MESSAGE_LEN-1); //+1 to '\0'
  xIncommingMessage.iMessageLen = batch_len;
  strncpy(xIncommingMessage.pMessageBuffer, ptr, batch_len);
  xIncommingMessage.pMessageBuffer[batch_len] = '\0';
  osMessageQueuePut(printfQueueHandle, &xIncommingMessage, 0x0, 100);
  }else{
    while (len > MAX_MESSAGE_LEN-1){
      batch_len = MIN(len, MAX_MESSAGE_LEN-1); //+1 to '\0'
      xIncommingMessage.iMessageLen = batch_len;
      strncpy(xIncommingMessage.pMessageBuffer, ptr, batch_len);
      xIncommingMessage.pMessageBuffer[batch_len] = '\0';
      osMessageQueuePut(printfQueueHandle, &xIncommingMessage, 0x0, 100);
      ptr += batch_len;
      len -= batch_len;
    }
    if (len > 0){
      xIncommingMessage.iMessageLen = len;
      strncpy(xIncommingMessage.pMessageBuffer, ptr, len);
      xIncommingMessage.pMessageBuffer[len] = '\0';
      osMessageQueuePut(printfQueueHandle, &xIncommingMessage, 0x0, 100);
    }
  }
  return original_len;
}

/* USER CODE END Application */
